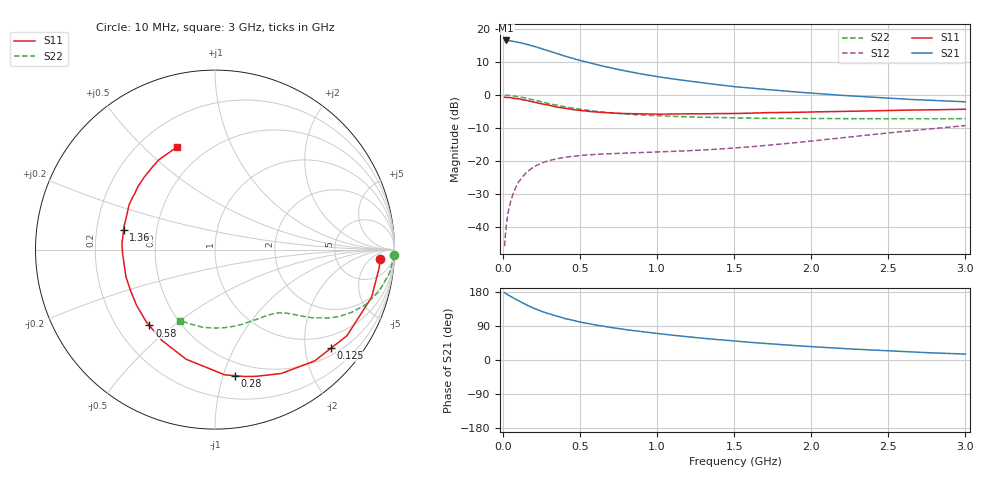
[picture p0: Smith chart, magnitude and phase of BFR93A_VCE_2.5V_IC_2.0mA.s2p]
! Infineon Technologies  Discrete & RF Semiconductors
! BFR93A
! VCE =  2.5 V,  IC =  2.0 mA
! Common Emitter S-Parameters:  Nov 2015
# GHz  S  MA  R  50
!  f  S11  S21  S12  S22
! GHz  MAG  ANG  MAG  ANG  MAG  ANG  MAG  ANG
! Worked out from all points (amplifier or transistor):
!   180 points, 10 MHz to 3 GHz, reference 50 ohm
!   highest |S21| = 16.5 dB at 20 MHz (marker M1)
!   |S21| within 3 dB of that: start of sweep to 286 MHz
!   unconditionally stable (mu >= 1): 977.8 MHz to 2.891 GHz
!   at 160 MHz: K = 0.20, MSG = 19.2 dB, |S12| = -23.1 dB
!   at 1.22 GHz: K = 1.13, MAG = 8.3 dB, |S12| = -16.8 dB
!   at 3 GHz: K = 0.98, MSG = 3.6 dB, |S12| = -9.3 dB
!   S11 on the Smith chart (normalised r, x): 10 MHz: 16, -12; 125 MHz: 0.66, -2.57; 280 MHz: 0.39, -1.09; 580 MHz: 0.34, -0.41; 1.36 GHz: 0.32, +0.10; 3 GHz: 0.35, +0.63
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0.01  0.9236 -3.4  6.644 177.4  0.0052 88.2  0.9951 -1.6
0.02  0.9194 -6.7  6.652 174.9  0.0103 85.9  0.9934 -3.0
0.035  0.9121 -11.8  6.588 171.2  0.0176 82.0  0.9866 -5.2
0.055  0.9055 -18.5  6.513 166.3  0.0273 78.9  0.977 -8.1
0.1  0.878 -33.1  6.262 156.3  0.0482 71.7  0.9438 -14.2
0.125  0.848 -40.4  6.033 151.1  0.0574 66.9  0.9175 -17.1
0.15  0.8326 -48.1  5.857 145.6  0.0669 63.4  0.8936 -20.1
0.2  0.7826 -61.9  5.44 136.4  0.0822 57.1  0.8385 -24.6
0.24  0.7427 -71.9  5.084 129.9  0.0913 52.6  0.7955 -27.6
0.28  0.7112 -81.0  4.756 124.2  0.0989 49.0  0.7566 -30.0
0.3  0.6997 -85.6  4.603 121.3  0.1025 47.4  0.738 -31.1
0.4  0.6315 -104.8  3.872 109.5  0.1145 41.4  0.6602 -35.1
0.52  0.5773 -122.9  3.23 98.7  0.1227 37.2  0.5973 -38.0
0.58  0.5587 -130.9  2.974 94.1  0.1255 35.9  0.5731 -39.2
0.7  0.5362 -144.5  2.557 85.7  0.1298 34.6  0.5361 -41.4
0.8  0.523 -154.3  2.288 79.9  0.1322 34.5  0.5141 -43.3
1.02  0.5125 -171.4  1.862 69.0  0.1377 36.2  0.4833 -47.6
1.36  0.5211 167.9  1.46 55.0  0.1503 41.7  0.4578 -56.1
1.52  0.5253 160.5  1.323 49.3  0.1593 44.5  0.4502 -60.8
2.02  0.5546 140.5  1.057 34.7  0.2035 51.4  0.4395 -77.1
2.52  0.5835 124.4  0.889 23.7  0.2697 52.6  0.4368 -95.6
3  0.6089 110.6  0.787 15.6  0.3443 48.9  0.4401 -116.0
